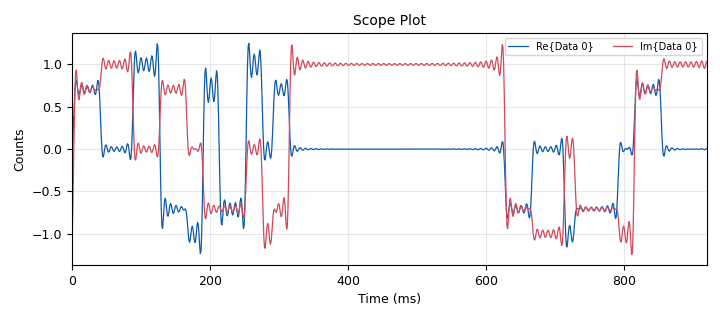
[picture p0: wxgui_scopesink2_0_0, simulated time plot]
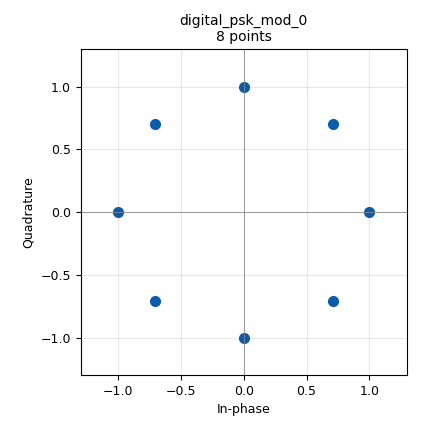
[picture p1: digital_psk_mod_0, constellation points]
<?xml version='1.0' encoding='utf-8'?>
<?grc format='1' created='3.7.9'?>
<flow_graph>
<block>
<key>options</key>
<param><key>id</key><value>top_block</value></param>
<param><key>category</key><value>Custom</value></param>
<param><key>generate_options</key><value>wx_gui</value></param>
</block>
<block>
<key>variable</key>
<param><key>id</key><value>samp_rate</value></param>
<param><key>value</key><value>1024</value></param>
</block>
<block>
<key>E3TRadio_diezmador_cc</key>
<param><key>id</key><value>E3TRadio_diezmador_cc_0</value></param>
<param><key>paso</key><value>8</value></param>
</block>
<block>
<key>analog_random_source_x</key>
<param><key>id</key><value>analog_random_source_x_0</value></param>
<param><key>max</key><value>2</value></param>
<param><key>min</key><value>0</value></param>
<param><key>num_samps</key><value>1000</value></param>
<param><key>type</key><value>byte</value></param>
<param><key>repeat</key><value>True</value></param>
</block>
<block>
<key>blocks_delay</key>
<param><key>id</key><value>blocks_delay_0</value></param>
<param><key>delay</key><value>4</value></param>
<param><key>_enabled</key><value>0</value></param>
<param><key>type</key><value>complex</value></param>
</block>
<block>
<key>blocks_throttle</key>
<param><key>id</key><value>blocks_throttle_0</value></param>
<param><key>samples_per_second</key><value>samp_rate</value></param>
<param><key>type</key><value>complex</value></param>
</block>
<block>
<key>digital_psk_mod</key>
<param><key>id</key><value>digital_psk_mod_0</value></param>
<param><key>differential</key><value>True</value></param>
<param><key>excess_bw</key><value>1</value></param>
<param><key>mod_code</key><value>"gray"</value></param>
<param><key>constellation_points</key><value>8</value></param>
<param><key>samples_per_symbol</key><value>8</value></param>
</block>
<block>
<key>wxgui_scopesink2</key>
<param><key>id</key><value>wxgui_scopesink2_0</value></param>
<param><key>ac_couple</key><value>False</value></param>
<param><key>num_inputs</key><value>1</value></param>
<param><key>samp_rate</key><value>samp_rate</value></param>
<param><key>t_scale</key><value>0</value></param>
<param><key>title</key><value>Scope Plot</value></param>
<param><key>trig_mode</key><value>wxgui.TRIG_MODE_AUTO</value></param>
<param><key>type</key><value>complex</value></param>
<param><key>v_offset</key><value>0</value></param>
<param><key>v_scale</key><value>0</value></param>
<param><key>xy_mode</key><value>False</value></param>
<param><key>y_axis_label</key><value>Counts</value></param>
</block>
<block>
<key>wxgui_scopesink2</key>
<param><key>id</key><value>wxgui_scopesink2_0_0</value></param>
<param><key>ac_couple</key><value>False</value></param>
<param><key>num_inputs</key><value>1</value></param>
<param><key>samp_rate</key><value>samp_rate</value></param>
<param><key>t_scale</key><value>0</value></param>
<param><key>title</key><value>Scope Plot</value></param>
<param><key>trig_mode</key><value>wxgui.TRIG_MODE_AUTO</value></param>
<param><key>type</key><value>complex</value></param>
<param><key>v_offset</key><value>0</value></param>
<param><key>v_scale</key><value>0</value></param>
<param><key>xy_mode</key><value>False</value></param>
<param><key>y_axis_label</key><value>Counts</value></param>
</block>
<block>
<key>wxgui_scopesink2</key>
<param><key>id</key><value>wxgui_scopesink2_1</value></param>
<param><key>ac_couple</key><value>False</value></param>
<param><key>_enabled</key><value>0</value></param>
<param><key>num_inputs</key><value>1</value></param>
<param><key>samp_rate</key><value>samp_rate</value></param>
<param><key>t_scale</key><value>0</value></param>
<param><key>title</key><value>Scope Plot</value></param>
<param><key>trig_mode</key><value>wxgui.TRIG_MODE_AUTO</value></param>
<param><key>type</key><value>complex</value></param>
<param><key>v_offset</key><value>0</value></param>
<param><key>v_scale</key><value>0</value></param>
<param><key>xy_mode</key><value>False</value></param>
<param><key>y_axis_label</key><value>Counts</value></param>
</block>
<connection><source_block_id>E3TRadio_diezmador_cc_0</source_block_id><sink_block_id>blocks_throttle_0</sink_block_id><source_key>0</source_key><sink_key>0</sink_key></connection>
<connection><source_block_id>analog_random_source_x_0</source_block_id><sink_block_id>digital_psk_mod_0</sink_block_id><source_key>0</source_key><sink_key>0</sink_key></connection>
<connection><source_block_id>blocks_delay_0</source_block_id><sink_block_id>E3TRadio_diezmador_cc_0</sink_block_id><source_key>0</source_key><sink_key>0</sink_key></connection>
<connection><source_block_id>blocks_throttle_0</source_block_id><sink_block_id>wxgui_scopesink2_0</sink_block_id><source_key>0</source_key><sink_key>0</sink_key></connection>
<connection><source_block_id>digital_psk_mod_0</source_block_id><sink_block_id>E3TRadio_diezmador_cc_0</sink_block_id><source_key>0</source_key><sink_key>0</sink_key></connection>
<connection><source_block_id>digital_psk_mod_0</source_block_id><sink_block_id>blocks_delay_0</sink_block_id><source_key>0</source_key><sink_key>0</sink_key></connection>
<connection><source_block_id>digital_psk_mod_0</source_block_id><sink_block_id>wxgui_scopesink2_0_0</sink_block_id><source_key>0</source_key><sink_key>0</sink_key></connection>
<connection><source_block_id>digital_psk_mod_0</source_block_id><sink_block_id>wxgui_scopesink2_1</sink_block_id><source_key>0</source_key><sink_key>0</sink_key></connection>
</flow_graph>
